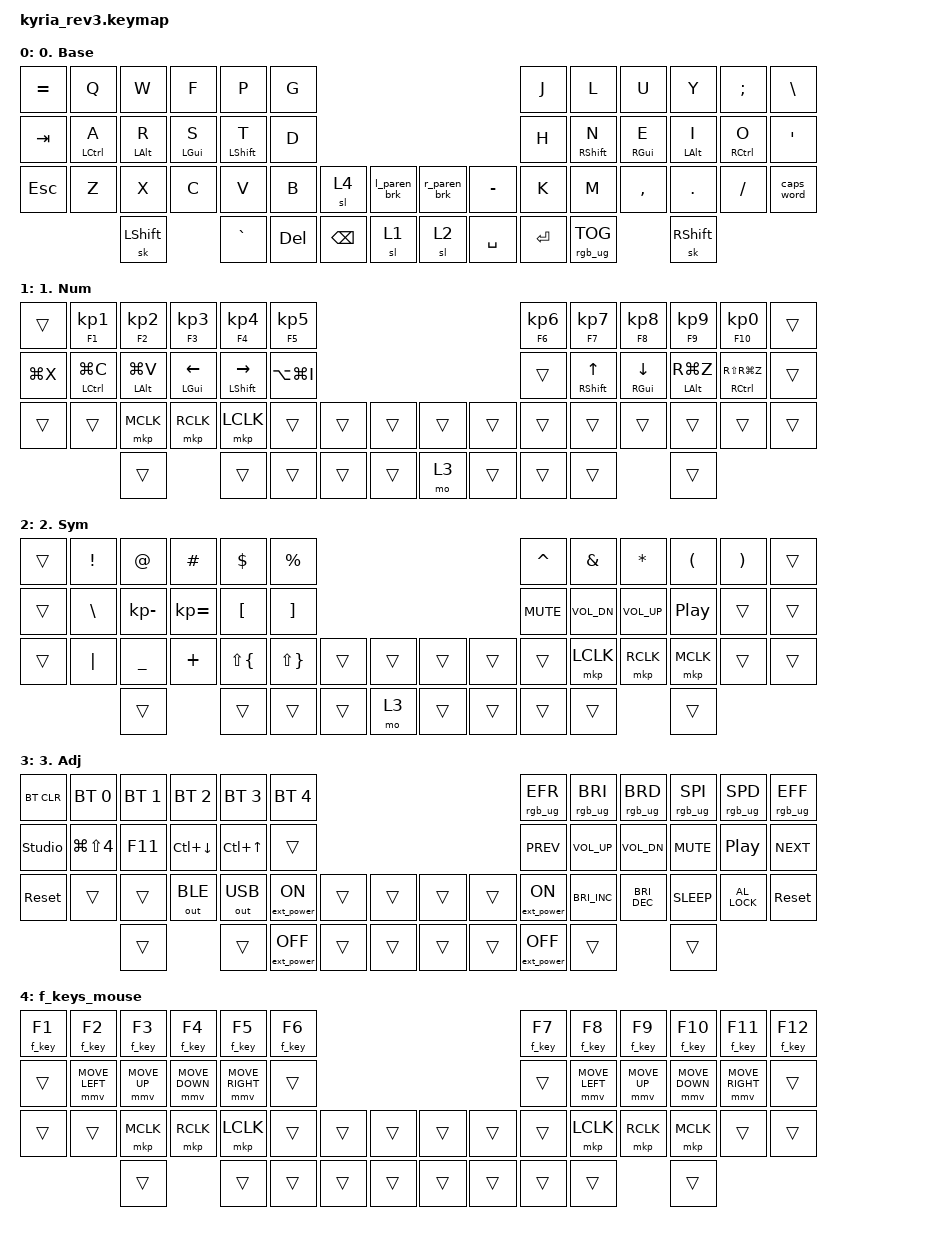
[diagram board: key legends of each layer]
/*
 * Copyright (c) 2023 The ZMK Contributors
 *
 * SPDX-License-Identifier: MIT
 */

#include <behaviors.dtsi>
#include <dt-bindings/zmk/bt.h>
#include <dt-bindings/zmk/ext_power.h>
#include <dt-bindings/zmk/keys.h>
#include <dt-bindings/zmk/outputs.h>

#define ZMK_POINTING_DEFAULT_MOVE_VAL 1500  // default: 600
#define ZMK_POINTING_DEFAULT_SCRL_VAL 20    // default: 10
#include <dt-bindings/zmk/pointing.h>

#include <dt-bindings/zmk/rgb.h>

&led_strip {
    chain-length = <31>;// Uncomment if using both per-key and underglow LEDs
};

// Overrides nice_view cs_gpios pin to D0 from D1, D1 is shared with
// LED's and caused issues.

&nice_view_spi { cs-gpios = <&pro_micro 0 GPIO_ACTIVE_HIGH>; };

&caps_word { continue-list = <UNDERSCORE MINUS>; };

/ {
    behaviors {
        mt_tap_pref: mt_tap_pref {
            compatible = "zmk,behavior-hold-tap";
            bindings = <&kp>, <&kp>;

            #binding-cells = <2>;
            tapping-term-ms = <200>;
            quick-tap-ms = <180>;
            flavor = "tap-preferred";
        };

        l_paren_brk: l_paren_brk {
            compatible = "zmk,behavior-tap-dance";
            #binding-cells = <0>;
            bindings =
                <&kp LEFT_PARENTHESIS>,
                <&kp LEFT_BRACKET>,
                <&kp LEFT_BRACE>;
        };

        r_paren_brk: r_paren_brk {
            compatible = "zmk,behavior-tap-dance";
            #binding-cells = <0>;
            bindings =
                <&kp RIGHT_PARENTHESIS>,
                <&kp RIGHT_BRACKET>,
                <&kp RIGHT_BRACE>;
        };

        hml: home_row_mod_left {
            compatible = "zmk,behavior-hold-tap";
            bindings = <&kp>, <&kp>;

            #binding-cells = <2>;
            tapping-term-ms = <200>;
            quick-tap-ms = <175>;
            require-prior-idle-ms = <150>;
            flavor = "balanced";
            hold-trigger-on-release;
            hold-trigger-key-positions = <19 20 21 22 6 7 8 9 10 11 18 19 20 21 22 23 34 35 36 37 38 39 46 47 48 49 33 32 45>;
        };

        hmr: home_row_mod_right {
            compatible = "zmk,behavior-hold-tap";
            bindings = <&kp>, <&kp>;

            #binding-cells = <2>;
            tapping-term-ms = <200>;
            quick-tap-ms = <175>;
            require-prior-idle-ms = <150>;
            flavor = "balanced";
            hold-trigger-on-release;
            hold-trigger-key-positions = <13 14 15 16 0 1 12 13 14 15 16 17 24 25 26 27 28 29 30 31 40 41 42 43 44 2 3 4 5 15 0 1 2 3 4 5 12 13 14 15 16 17 24 25 26 27 28 29 30 31 40 41 42 43 44>;
        };
    };

    macros {
        f_key: f_key {
            compatible = "zmk,behavior-macro-one-param";
            #binding-cells = <1>;
            bindings =
                <&macro_press>,
                <&kp GLOBE &macro_param_1to1>,
                <&macro_tap>,
                <&kp MACRO_PLACEHOLDER>,
                <&macro_release>,
                <&kp GLOBE>;
        };
    };

    keymap {
        compatible = "zmk,keymap";

        base_layer {
            // ---------------------------------------------------------------------------------------------------------------------------------
            // |  ESC  |  Q  |  W  |  E   |  R   |  T   |                                          |  Y   |  U    |  I    |  O   |   P   |   \  |
            // |  TAB  |  A  |  S  |  D   |  F   |  G   |                                          |  H   |  J    |  K    |  L   |   ;   |   '  |
            // | SHIFT |  Z  |  X  |  C   |  V   |  B   | L SHIFT | L SHIFT |  | L SHIFT | L SHIFT |  N   |  M    |  ,    |  .   |   /   | CTRL |
            //                     | GUI  | DEL  | RET  |  SPACE  |   ESC   |  |   RET   |  SPACE  | TAB  | BSPC  | R-ALT |

            bindings = <
&kp EQUAL  &kp Q                &kp W            &kp F            &kp P              &kp G                                                          &kp J      &kp L               &kp U             &kp Y            &kp SEMI              &kp BSLH
&kp TAB    &hml LEFT_CONTROL A  &hml LEFT_ALT R  &hml LEFT_GUI S  &hml LEFT_SHIFT T  &kp D                                                          &kp H      &hmr RIGHT_SHIFT N  &hmr RIGHT_GUI E  &hmr LEFT_ALT I  &hmr RIGHT_CONTROL O  &kp SQT
&kp ESC    &kp Z                &kp X            &kp C            &kp V              &kp B    &sl 4          &l_paren_brk  &r_paren_brk  &kp MINUS  &kp K      &kp M               &kp COMMA         &kp DOT          &kp FSLH              &caps_word
                                &sk LEFT_SHIFT                    &kp GRAVE          &kp DEL  &kp BACKSPACE  &sl 1         &sl 2         &kp SPACE  &kp ENTER  &rgb_ug RGB_TOG                       &sk RIGHT_SHIFT
            >;

            //sensor-bindings =
            //    <&inc_dec_kp RIGHT_ARROW LEFT_ARROW>,
            //    <&inc_dec_kp UP_ARROW DOWN_ARROW>;

            display-name = "0. Base";
        };

        numbers_edit_nav {
            bindings = <
&trans     &mt_tap_pref F1 KP_N1    &mt_tap_pref F2 KP_N2  &mt_tap_pref F3 KP_N3  &mt_tap_pref F4 KP_N4  &mt_tap_pref F5 KP_N5                                  &mt_tap_pref F6 KP_N6  &mt_tap_pref F7 KP_NUMBER_7  &mt_tap_pref F8 KP_N8  &mt_tap_pref F9 KP_N9  &mt_tap_pref F10 KP_N0        &trans
&kp LG(X)  &hml LEFT_CONTROL LG(C)  &hml LEFT_ALT LG(V)    &hml LEFT_GUI LEFT     &hml LEFT_SHIFT RIGHT  &kp LA(LG(I))                                          &trans                 &hmr RIGHT_SHIFT UP          &hmr RIGHT_GUI DOWN    &hmr LEFT_ALT RG(Z)    &hmr RIGHT_CONTROL RS(RG(Z))  &trans
&trans     &trans                   &mkp MCLK              &mkp RCLK              &mkp LCLK              &trans                 &trans  &trans  &trans  &trans  &trans                 &trans                       &trans                 &trans                 &trans                        &trans
                                    &trans                                        &trans                 &trans                 &trans  &trans  &mo 3   &trans  &trans                 &trans                                              &trans
            >;

            display-name = "1. Num";
        };

        symbols {
            bindings = <
&trans  &kp EXCL  &kp AT        &kp POUND     &kp DLLR            &kp PRCNT                                            &kp CARET   &kp AMPS      &kp STAR      &kp LPAR   &kp RPAR  &trans
&trans  &kp BSLH  &kp KP_MINUS  &kp KP_EQUAL  &kp LEFT_BRACKET    &kp RIGHT_BRACKET                                    &kp C_MUTE  &kp C_VOL_DN  &kp C_VOL_UP  &kp C_PP   &trans    &trans
&trans  &kp PIPE  &kp UNDER     &kp PLUS      &kp LS(LEFT_BRACE)  &kp LS(RIGHT_BRACE)  &trans  &trans  &trans  &trans  &trans      &mkp LCLK     &mkp RCLK     &mkp MCLK  &trans    &trans
                  &trans                      &trans              &trans               &trans  &mo 3   &trans  &trans  &trans      &trans                      &trans
            >;

            display-name = "2. Sym";
        };

        adjust {
            bindings = <
&bt BT_CLR      &bt BT_SEL 0          &bt BT_SEL 1  &bt BT_SEL 2  &bt BT_SEL 3  &bt BT_SEL 4                                       &rgb_ug RGB_EFR    &rgb_ug RGB_BRI       &rgb_ug RGB_BRD       &rgb_ug RGB_SPI  &rgb_ug RGB_SPD   &rgb_ug RGB_EFF
&studio_unlock  &kp LG(LS(NUMBER_4))  &kp F11       &kp LC(DOWN)  &kp LC(UP)    &trans                                             &kp C_PREV         &kp C_VOL_UP          &kp C_VOL_DN          &kp C_MUTE       &kp C_PLAY_PAUSE  &kp C_NEXT
&sys_reset      &trans                &trans        &out OUT_BLE  &out OUT_USB  &ext_power EP_ON   &trans  &trans  &trans  &trans  &ext_power EP_ON   &kp C_BRIGHTNESS_INC  &kp C_BRIGHTNESS_DEC  &kp C_SLEEP      &kp C_AL_LOCK     &sys_reset
                                      &trans                      &trans        &ext_power EP_OFF  &trans  &trans  &trans  &trans  &ext_power EP_OFF  &trans                                      &trans
            >;

            display-name = "3. Adj";
        };

        f_keys_mouse {
            bindings = <
&f_key F1  &f_key F2       &f_key F3     &f_key F4       &f_key F5        &f_key F6                                  &f_key F7  &f_key F8       &f_key F9     &f_key F10      &f_key F11       &f_key F12
&trans     &mmv MOVE_LEFT  &mmv MOVE_UP  &mmv MOVE_DOWN  &mmv MOVE_RIGHT  &trans                                     &trans     &mmv MOVE_LEFT  &mmv MOVE_UP  &mmv MOVE_DOWN  &mmv MOVE_RIGHT  &trans
&trans     &trans          &mkp MCLK     &mkp RCLK       &mkp LCLK        &trans     &trans  &trans  &trans  &trans  &trans     &mkp LCLK       &mkp RCLK     &mkp MCLK       &trans           &trans
                           &trans                        &trans           &trans     &trans  &trans  &trans  &trans  &trans     &trans                        &trans
            >;
        };

        extra_1 { status = "reserved"; };

        extra_2 { status = "reserved"; };
    };
};
